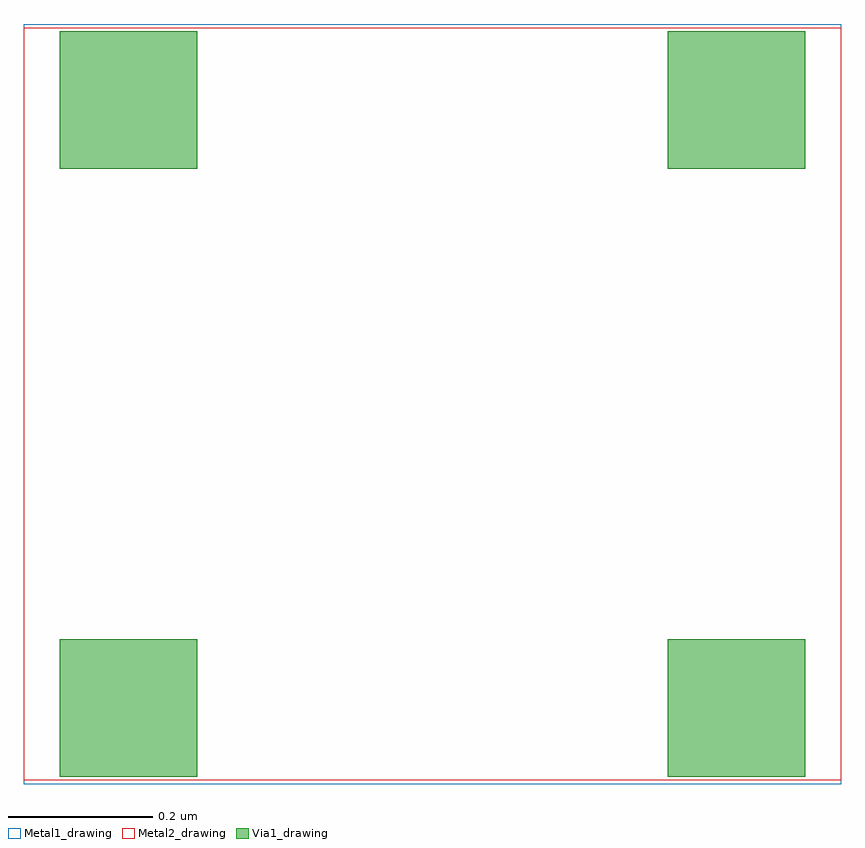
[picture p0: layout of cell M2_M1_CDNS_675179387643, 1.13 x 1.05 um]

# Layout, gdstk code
import gdstk
lib = gdstk.Library(unit=1e-6, precision=1e-09)
def R(c, l, rs):  # rectangles x0, y0, x1, y1
    for r in rs: c.add(gdstk.rectangle(r[:2], r[2:], *l))
Metal1_drawing = (8, 0)
Metal2_drawing = (10, 0)
Via1_drawing = (19, 0)

m2_m1_cdns_675179387643 = lib.new_cell('M2_M1_CDNS_675179387643')
R(m2_m1_cdns_675179387643, Metal1_drawing, [(-0.565,-0.525,0.565,0.525)])
R(m2_m1_cdns_675179387643, Metal2_drawing, [(-0.565,-0.52,0.565,0.52)])
R(m2_m1_cdns_675179387643, Via1_drawing, [(-0.515,-0.515,-0.325,-0.325), (0.325,-0.515,0.515,-0.325), (-0.515,0.325,-0.325,0.515), (0.325,0.325,0.515,0.515)])

lib.write_gds('M2_M1_CDNS_675179387643.gds')
